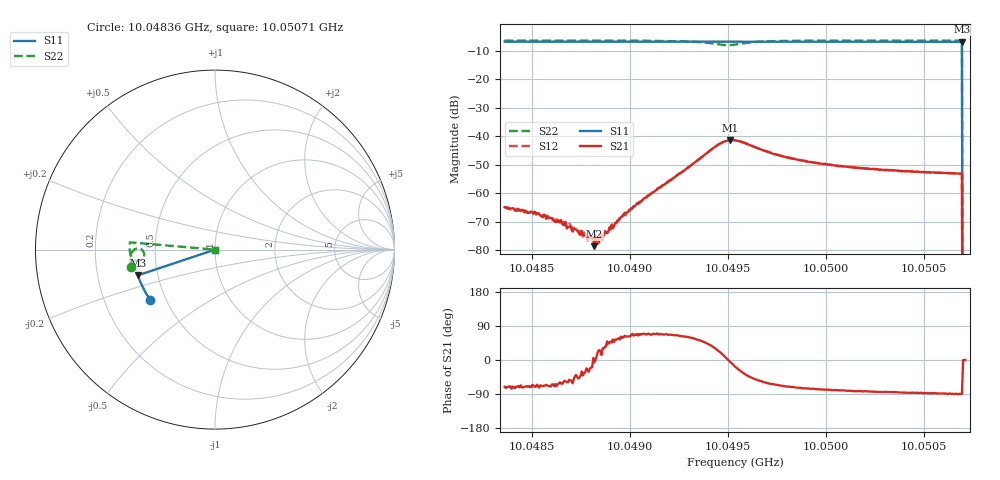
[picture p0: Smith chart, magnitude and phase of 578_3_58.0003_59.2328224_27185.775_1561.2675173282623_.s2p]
#  HZ  S  RI  R  50.00
! Rohde & Schwarz Vector Network Analyzer
! Rohde-Schwarz,ZNB20-2Port,1311601062101988,3.16
! Created: UTC 3/21/2024, 1:16:12 AM
! freq[Hz]  re:S11  im:S11  re:S21  im:S21  re:S12  im:S12  re:S22  im:S22
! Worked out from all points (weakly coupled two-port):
!   401 points, 10.04836 GHz to 10.05071 GHz, reference 50 ohm
!   highest |S21| = -41.38 dB at 10.04951 GHz (marker M1); lowest = -78.6 dB at 10.04882 GHz (marker M2)
!   lowest |S11| = -6.9 dB at 10.05069 GHz (marker M3), VSWR 2.65, Z = 19.3 - j6.94 ohm
!   |S11| at or under -10 dB: 10.05069 GHz to end of sweep
!   |S22| runs from - to -6.4 dB; largest |S21 - S12| = 0.00064
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1.0048362e10  -0.3609 -0.2792  0.000185 -0.000535  0.000209 -0.000529  -0.4676 -0.0951
1.0048526e10  -0.3674 -0.2703  0.000183 -0.0004  0.000199 -0.000373  -0.4694 -0.0832
1.0048579e10  -0.3692 -0.2673  0.000148 -0.000352  0.000188 -0.000356  -0.47 -0.0792
1.0048661e10  -0.3723 -0.2628  0.000146 -0.000233  0.000174 -0.000258  -0.4705 -0.073
1.0048702e10  -0.3738 -0.2606  0.000136 -0.000189  0.000167 -0.000184  -0.4708 -0.0697
1.0048755e10  -0.3756 -0.2577  0.00019 -0.000109  0.000163 -0.000131  -0.4711 -0.0655
1.004882e10  -0.3779 -0.2541  0.000117 -1.31e-05  0.000178 1.73e-05  -0.4714 -0.0602
1.0048832e10  -0.3784 -0.2534  0.000153 3e-05  0.000159 3.91e-05  -0.4714 -0.0592
1.0048837e10  -0.3786 -0.2531  0.000148 6.01e-05  0.000123 3.85e-05  -0.4715 -0.0588
1.0048855e10  -0.3791 -0.2521  0.000168 3.95e-05  0.000169 0.0001  -0.4715 -0.0573
1.004889e10  -0.3805 -0.2502  0.000153 0.000143  0.000162 0.000138  -0.4716 -0.0543
1.0048961e10  -0.3827 -0.2463  0.000202 0.000332  0.000189 0.000337  -0.4713 -0.048
1.0049149e10  -0.3891 -0.2355  0.000476 0.00113  0.000392 0.00118  -0.4687 -0.0281
1.0049443e10  -0.3977 -0.2181  0.00599 0.00317  0.00579 0.00355  -0.4134 0.00267
1.0049513e10  -0.3995 -0.2144  0.00849 -0.000849  0.00858 -0.000281  -0.395 -0.0348
1.0049537e10  -0.4002 -0.2133  0.00809 -0.00251  0.00831 -0.00193  -0.401 -0.0489
1.0049736e10  -0.4064 -0.2018  0.0021 -0.00438  0.00236 -0.00428  -0.4618 -0.0463
1.004993e10  -0.4118 -0.1901  0.000843 -0.00338  0.00106 -0.00331  -0.4726 -0.0218
1.0050324e10  -0.4214 -0.1663  0.00022 -0.00249  0.000366 -0.00251  -0.4754 0.0133
1.0050682e10  -0.429 -0.1439  3.67e-05 -0.00221  0.000143 -0.00219  -0.4741 0.0397
1.0050694e10  -0.4291 -0.1431  2.38e-05 -0.00217  0.000152 -0.0022  -0.4741 0.0405
1.0050712e10  0 0  0 0  0 0  0 0
